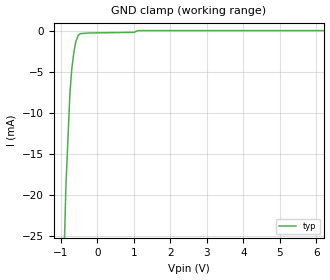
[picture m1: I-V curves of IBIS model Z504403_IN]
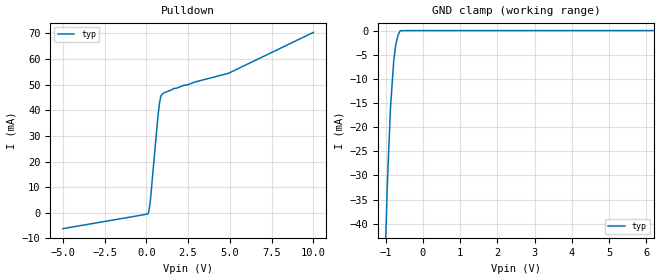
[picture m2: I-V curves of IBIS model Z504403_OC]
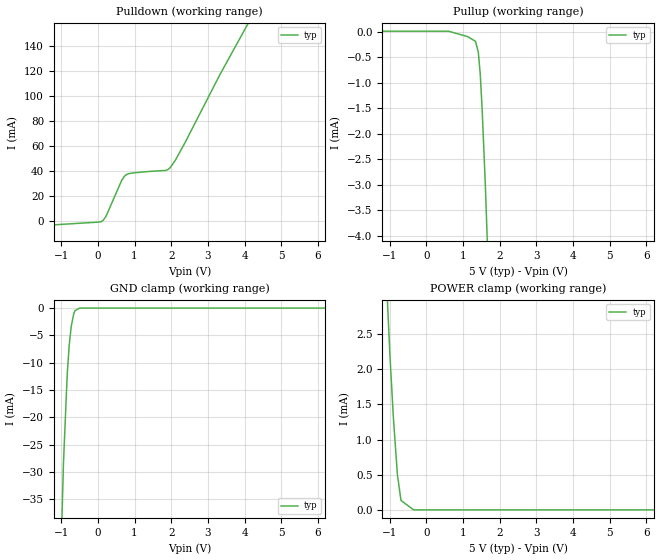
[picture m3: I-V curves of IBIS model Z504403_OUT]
| YOU ARE ONLY AUTHORIZED TO USE THIS SOFTWARE
| ACCORDING TO LICENSOR'S LICENSE RESTRICTIONS.
[IBIS Ver] 3.1
[File Name] sn54ls181j.ibs
[File Rev] 2.0
[Source] Measured and created by ICX Technology
[Date] Friday 7/14/00 9:08:14 AM
[Copyright]
| (C) COPYRIGHT 1993-2000
| MENTOR GRAPHICS CORPORATION
| ICX STANDARD LIBRARY, ICX PROJECT MODELING,
| ICX CUSTOM MODELING, ICX VENDOR MODEL
| ALL RIGHTS RESERVED.
| THE FOLLOWING ARE TRADEMARKS OR SERVICE MARKS OF
| MENTOR GRAPHICS CORPORATION:ICX (R), ICX STANDARD
| LIBRARY(R), ICX PROJECT MODELING(R), ICX CUSTOM
| MODELING(R), qualityIBIS(TM), MODELVIEWER(TM),
| AND MODELEDITOR(TM)
| ALL COPIES OF SOFTWARE, INCLUDING BUT NOT LIMITED TO
| ANY MODIFICATIONS, ENHANCEMENTS OR DERIVATIVE WORKS,
| MUST CONTAIN ALL MENTOR GRAPHICS CORPORATION'S
| NOTICES AND LEGENDS, INCLUDING THOSE EMBEDDED IN
| SOFTWARE AND THOSE AFFIXED TO SOFTWARE MEDIUM
| AND CONTAINER, AS RECEIVED FROM MENTOR GRAPHICS
| CORPORATION.
|  ZAP Model Builder 2.7
[Component] SN54LS181J
[Manufacturer] OnSemiconductor
[Package]
| variable   typ   min   max
R_pkg  .22ohms NA NA
L_pkg  6.927nH NA NA
C_pkg  2.443pF NA NA
[Pin] signal_name  model_name  R_pin  L_pin C_pin
1 _B0 Z504403_IN .24 12.76n 3.675p
2 _A0 Z504403_IN .232 9.76n 3.182p
3 S3 Z504403_IN .224 7.26n 2.689p
4 S2 Z504403_IN .216 5.26n 2.196p
5 S1 Z504403_IN .208 3.76n 1.703p
6 S0 Z504403_IN .2 2.76n 1.21p
7 CN Z504403_IN .2 2.76n 1.21p
8 M Z504403_IN .208 3.76n 1.703p
9 _F0 Z504403_OUT .216 5.26n 2.196p
10 _F1 Z504403_OUT .224 7.26n 2.689p
11 _F2 Z504403_OUT .232 9.76n 3.182p
12 GND GND .24 12.76n 3.675p
13 _F3 Z504403_OUT .24 12.76n 3.675p
14 A_EQ_B Z504403_OC .232 9.76n 3.182p
15 _P Z504403_OUT .224 7.26n 2.689p
16 CN_PL_X Z504403_OUT .216 5.26n 2.196p
17 _Q Z504403_OUT .208 3.76n 1.703p
18 _B3 Z504403_IN .2 2.76n 1.21p
19 _A3 Z504403_IN .2 2.76n 1.21p
20 _B2 Z504403_IN .208 3.76n 1.703p
21 _A2 Z504403_IN .216 5.26n 2.196p
22 _B1 Z504403_IN .224 7.26n 2.689p
23 _A1 Z504403_IN .232 9.76n 3.182p
24 VCC POWER .24 12.76n 3.675p
| Models and submodels in the file (3): Z504403_IN (Input), Z504403_OC (Open_sink), Z504403_OUT (Output)
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| (C) COPYRIGHT 1993-2000
| MENTOR GRAPHICS CORPORATION
| ICX STANDARD LIBRARY, ICX PROJECT MODELING,
| ICX CUSTOM MODELING, ICX VENDOR MODEL
| ALL RIGHTS RESERVED.
| THE FOLLOWING ARE TRADEMARKS OR SERVICE MARKS OF
| MENTOR GRAPHICS CORPORATION:ICX (R), ICX STANDARD
| LIBRARY(R), ICX PROJECT MODELING(R), ICX CUSTOM
| MODELING(R), qualityIBIS(TM), MODELVIEWER(TM),
| AND MODELEDITOR(TM)
| ALL COPIES OF SOFTWARE, INCLUDING BUT NOT LIMITED TO
| ANY MODIFICATIONS, ENHANCEMENTS OR DERIVATIVE WORKS,
| MUST CONTAIN ALL MENTOR GRAPHICS CORPORATION'S
| NOTICES AND LEGENDS, INCLUDING THOSE EMBEDDED IN
| SOFTWARE AND THOSE AFFIXED TO SOFTWARE MEDIUM
| AND CONTAINER, AS RECEIVED FROM MENTOR GRAPHICS
| CORPORATION.
| Model Application Version 1.89 2/18/99.
[Model] Z504403_IN
Model_type Input
Vinl = 800.0mV
Vinh = 2.000V
C_comp 4.000pF NA NA
| variable typ   min   max
[Voltage Range] 5.000V NA NA
[GND Clamp Reference] 0.000V NA NA
[POWER Clamp Reference] 5.000V NA NA
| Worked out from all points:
|   GND clamp passes 1 mA (typ) near -0.56 V on its own axis
[GND Clamp]
-5V       -702.3mA   NA         NA
-859.2mV  -18.67mA   NA         NA
-751.4mV  -7.66mA    NA         NA
-702.4mV  -4.789mA   NA         NA
-654.9mV  -3.021mA   NA         NA
-595.3mV  -1.454mA   NA         NA
-526.1mV  -593.5uA   NA         NA
-463.8mV  -376.5uA   NA         NA
1.011V    -221.1uA   NA         NA
1.097V    -27.03uA   NA         NA
1.187V    -10.55uA   NA         NA
10V       -9.911uA   NA         NA
[POWER Clamp]
-5V       0A         NA         NA
10V       0A         NA         NA
| (C) COPYRIGHT 1993-2000
| MENTOR GRAPHICS CORPORATION
| ICX STANDARD LIBRARY, ICX PROJECT MODELING,
| ICX CUSTOM MODELING, ICX VENDOR MODEL
| ALL RIGHTS RESERVED.
| THE FOLLOWING ARE TRADEMARKS OR SERVICE MARKS OF
| MENTOR GRAPHICS CORPORATION:ICX (R), ICX STANDARD
| LIBRARY(R), ICX PROJECT MODELING(R), ICX CUSTOM
| MODELING(R), qualityIBIS(TM), MODELVIEWER(TM),
| AND MODELEDITOR(TM)
| ALL COPIES OF SOFTWARE, INCLUDING BUT NOT LIMITED TO
| ANY MODIFICATIONS, ENHANCEMENTS OR DERIVATIVE WORKS,
| MUST CONTAIN ALL MENTOR GRAPHICS CORPORATION'S
| NOTICES AND LEGENDS, INCLUDING THOSE EMBEDDED IN
| SOFTWARE AND THOSE AFFIXED TO SOFTWARE MEDIUM
| AND CONTAINER, AS RECEIVED FROM MENTOR GRAPHICS
| CORPORATION.
| Model Application Version 1.89 2/18/99.
[Model] Z504403_OC
Model_type Open_sink
Vref=5.000V
Rref=2.001kohms
Cref=15.00pF
Vmeas=1.300V
C_comp 8.000pF NA NA
| variable typ   min   max
[Voltage Range] 5.000V NA NA
[POWER Clamp Reference] 5.000V NA NA
[Pullup Reference] 5.000V NA NA
[Pulldown Reference] 0.000V NA NA
[GND Clamp Reference] 0.000V NA NA
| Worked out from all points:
|   slope of the pulldown table from 0 to 0.75 V, typ, clamps not added: 18.2 ohm
|   GND clamp passes 1 mA (typ) near -0.67 V on its own axis
[GND Clamp]
-5V       -1.396A    NA         NA
-1.044V   -55.72mA   NA         NA
-952.1mV  -31.85mA   NA         NA
-868.5mV  -16.05mA   NA         NA
-781mV    -6.326mA   NA         NA
-726.8mV  -2.897mA   NA         NA
-664.1mV  -930.8uA   NA         NA
-607.3mV  -32.56uA   NA         NA
-455.5mV  0A         NA         NA
10V       0A         NA         NA
[Pulldown]
-5V       -6.224mA   NA         NA
107.4mV   -270.8uA   NA         NA
151.3mV   547.9uA    NA         NA
244.1mV   4.868mA    NA         NA
684.6mV   36.95mA    NA         NA
781.3mV   42.48mA    NA         NA
856.8mV   45.2mA     NA         NA
893.6mV   45.87mA    NA         NA
1.035V    46.74mA    NA         NA
2.251V    49.76mA    NA         NA
4.917V    54.45mA    NA         NA
10V       70.42mA    NA         NA
[POWER Clamp]
-5V       0A         NA         NA
10V       0A         NA         NA
[Ramp]
| variable typ min max
dV/dt_r 2.743/8.228n NA NA
dV/dt_f 2.743/6.377n NA NA
R_load = 250.0Ohms
| (C) COPYRIGHT 1993-2000
| MENTOR GRAPHICS CORPORATION
| ICX STANDARD LIBRARY, ICX PROJECT MODELING,
| ICX CUSTOM MODELING, ICX VENDOR MODEL
| ALL RIGHTS RESERVED.
| THE FOLLOWING ARE TRADEMARKS OR SERVICE MARKS OF
| MENTOR GRAPHICS CORPORATION:ICX (R), ICX STANDARD
| LIBRARY(R), ICX PROJECT MODELING(R), ICX CUSTOM
| MODELING(R), qualityIBIS(TM), MODELVIEWER(TM),
| AND MODELEDITOR(TM)
| ALL COPIES OF SOFTWARE, INCLUDING BUT NOT LIMITED TO
| ANY MODIFICATIONS, ENHANCEMENTS OR DERIVATIVE WORKS,
| MUST CONTAIN ALL MENTOR GRAPHICS CORPORATION'S
| NOTICES AND LEGENDS, INCLUDING THOSE EMBEDDED IN
| SOFTWARE AND THOSE AFFIXED TO SOFTWARE MEDIUM
| AND CONTAINER, AS RECEIVED FROM MENTOR GRAPHICS
| CORPORATION.
| Model Application Version 1.89 2/18/99.
[Model] Z504403_OUT
Model_type Output
Vref=5.000V
Rref=2.000kohms
Cref=15.00pF
Vmeas=1.300V
C_comp 8.000pF NA NA
| variable typ   min   max
[Voltage Range] 5.000V NA NA
[POWER Clamp Reference] 5.000V NA NA
[Pullup Reference] 5.000V NA NA
[Pulldown Reference] 0.000V NA NA
[GND Clamp Reference] 0.000V NA NA
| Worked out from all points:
|   slope of the pulldown table from 0 to 0.75 V, typ, clamps not added: 20 ohm
|   slope of the pullup table from 0 to 0.75 V, typ, clamps not added: 24.8 kohm
|   GND clamp passes 1 mA (typ) near -0.65 V on its own axis
|   POWER clamp passes 1 mA (typ) near -0.86 V on its own axis
[GND Clamp]
-5V       -1.321A    NA         NA
-1.079V   -63.44mA   NA         NA
-937.4mV  -28.4mA    NA         NA
-833.9mV  -12mA      NA         NA
-780.2mV  -6.791mA   NA         NA
-725.3mV  -3.364mA   NA         NA
-664.1mV  -1.263mA   NA         NA
-625mV    -489uA     NA         NA
-500mV    0A         NA         NA
10V       0A         NA         NA
[Pulldown]
-5V       -10.21mA   NA         NA
87.89mV   -777.9uA   NA         NA
151.3mV   512.6uA    NA         NA
224.6mV   3.667mA    NA         NA
651mV     32.43mA    NA         NA
786.2mV   37.24mA    NA         NA
1.841V    40.38mA    NA         NA
1.981V    42.86mA    NA         NA
2.129V    49.37mA    NA         NA
2.378V    62.75mA    NA         NA
3.33V     117.4mA    NA         NA
10V       473.9mA    NA         NA
[Pullup]
-5V       7.04uA     NA         NA
601mV     7.04uA     NA         NA
1.123V    -99.07uA   NA         NA
1.338V    -190.8uA   NA         NA
1.416V    -402.6uA   NA         NA
1.47V     -845.2uA   NA         NA
1.524V    -1.579mA   NA         NA
1.609V    -3.038mA   NA         NA
10V       -176.8mA   NA         NA
[POWER Clamp]
-5V       47.53mA    NA         NA
-995mV    2.207mA    NA         NA
-901mV    1.318mA    NA         NA
-791mV    505.1uA    NA         NA
-693mV    133.3uA    NA         NA
-346.5mV  0A         NA         NA
10V       0A         NA         NA
[Ramp]
| variable typ min max
dV/dt_r 1.867/12.28n NA NA
dV/dt_f 1.867/2.360n NA NA
R_load = 500.0Ohms
